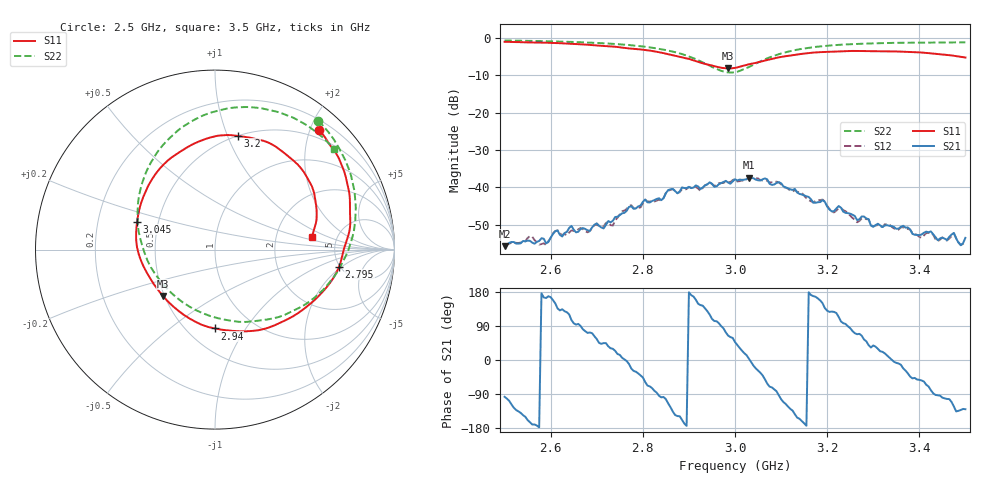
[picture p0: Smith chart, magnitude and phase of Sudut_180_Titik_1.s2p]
# Hz S RI R 50
! CMT, C1220, 16058040, 17.2.0/1
! Date: 15/08/2018 09:48:35
! Data: Format (Calibration Info)
! Freq  S11: Re/Im (F2)  S21: Re/Im (F2)  S12: Re/Im (F2)  S22: Re/Im (F2)
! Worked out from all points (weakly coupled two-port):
!   201 points, 2.5 GHz to 3.5 GHz, reference 50 ohm
!   highest |S21| = -37.45 dB at 3.03 GHz (marker M1); lowest = -55.7 dB at 2.5 GHz (marker M2)
!   lowest |S11| = -8.2 dB at 2.985 GHz (marker M3), VSWR 2.27, Z = 24.5 - j14.9 ohm
!   |S11| at or under -10 dB: nowhere
!   |S22| runs from -9.3 to -0.7 dB; largest |S21 - S12| = 0.0011
!   S11 on the Smith chart (normalised r, x): 2.5 GHz: 0.35, +2.14; 2.795 GHz: 4.92, -1.83; 2.94 GHz: 0.67, -0.73; 3.045 GHz: 0.38, +0.15; 3.2 GHz: 0.50, +1.09; 3.5 GHz: 3.24, +0.65
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2.5e9  0.5768 0.6686  -0.000204 -0.00162  -0.000234 -0.0017  0.5753 0.718
2.555e9  0.6416 0.5809  -0.00185 -0.000524  -0.00212 -0.000686  0.6364 0.6491
2.59e9  0.6862 0.5164  -0.00171 0.000503  -0.00165 0.000351  0.6727 0.5962
2.61e9  0.7033 0.4773  -0.00224 0.00133  -0.00224 0.00131  0.6926 0.5622
2.67e9  0.7463 0.3257  0.000446 0.00282  0.000481 0.00272  0.7474 0.4445
2.715e9  0.7528 0.191  0.00201 0.00198  0.00212 0.00214  0.7754 0.3341
2.77e9  0.7191 0.00583  0.00537 -0.00101  0.00556 -0.00114  0.7816 0.1666
2.795e9  0.6913 -0.0952  0.00432 -0.00374  0.00404 -0.00357  0.7677 0.0776
2.835e9  0.5936 -0.2417  -0.000539 -0.00713  -0.000342 -0.00686  0.7064 -0.0789
2.94e9  -0.0026 -0.4391  -0.00686 0.00852  -0.00708 0.0084  0.1735 -0.403
2.985e9  -0.2904 -0.2581  0.00499 0.0105  0.00461 0.0108  -0.1805 -0.2931
3e9  -0.3617 -0.1592  0.00869 0.00945  0.00919 0.00904  -0.2794 -0.2034
3.03e9  -0.4391 0.0503  0.0134 0.000865  0.0132 0.001  -0.4048 0.0195
3.045e9  -0.4342 0.1561  0.0117 -0.00475  0.0125 -0.00486  -0.4305 0.1394
3.105e9  -0.2661 0.4937  -0.00367 -0.00963  -0.00387 -0.0093  -0.3248 0.5379
3.17e9  0.0103 0.6334  -0.0061 0.00123  -0.00621 0.000759  -0.0711 0.7451
3.2e9  0.1256 0.6332  -0.00357 0.00423  -0.00343 0.0045  0.0424 0.7802
3.335e9  0.4792 0.453  0.00303 0.000347  0.00319 0.000183  0.4176 0.7419
3.44e9  0.5662 0.2208  -0.000103 -0.00196  -6e-05 -0.0019  0.5941 0.6305
3.475e9  0.5583 0.1335  -0.00132 -0.00206  -0.00125 -0.00209  0.6367 0.5895
3.49e9  0.5473 0.0953  -0.00112 -0.00125  -0.00124 -0.00117  0.6539 0.5706
3.5e9  0.539 0.0712  -0.00135 -0.00162  -0.00137 -0.00134  0.6651 0.5579
